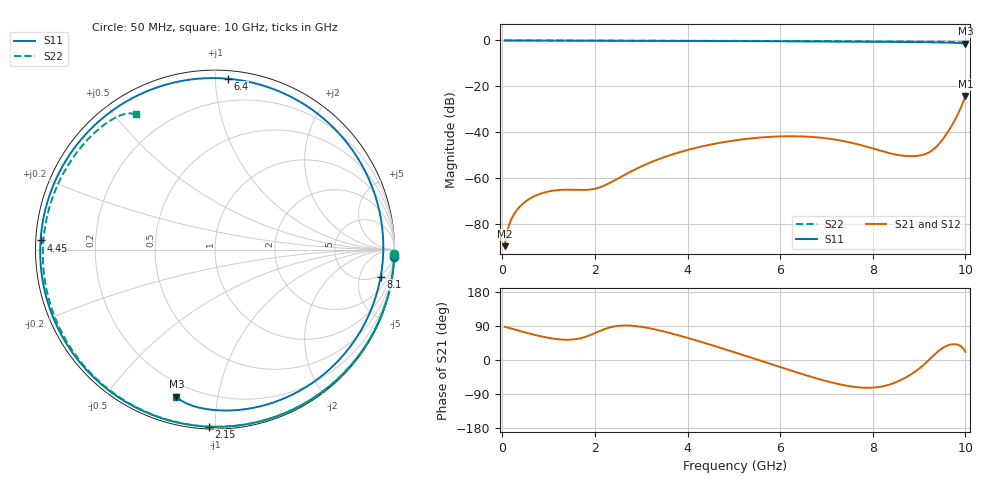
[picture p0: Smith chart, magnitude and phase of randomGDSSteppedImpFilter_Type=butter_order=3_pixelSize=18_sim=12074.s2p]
! freq	dB(S11)	phase(S11)	dB(S12)	phase(S12)
!  dB(S21)	phase(S21)	dB(S22)	phase(S22)
!S-par simulation data
#  GHz  S  DB  R 50
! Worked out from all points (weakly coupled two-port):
!   200 points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, 50 MHz to 10 GHz, reference 50 ohm
!   highest |S21| = -24.32 dB at 10 GHz (marker M1); lowest = -89.6 dB at 50 MHz (marker M2)
!   lowest |S11| = -1.4 dB at 10 GHz (marker M3), VSWR 12.10, Z = 6.57 - j38.2 ohm
!   |S11| at or under -10 dB: nowhere
!   |S22| runs from -1.2 to 0.0 dB; largest |S21 - S12| = 0
!   S11 on the Smith chart (normalised r, x): 50 MHz: 1, -50; 2.15 GHz: 0.01, -0.97; 4.45 GHz: 0.01, +0.03; 6.4 GHz: 0.05, +1.08; 8.1 GHz: 4, -10; 10 GHz: 0.13, -0.76
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0.05  -0.01 -2.3  -89.58 87.9  -89.58 87.9  -0.01 -1.4
0.15  -0.01 -6.7  -80.12 84.5  -80.12 84.5  -0.01 -4.2
0.4  -0.02 -17.8  -71.90 75.9  -71.90 75.9  -0.01 -11.2
0.75  -0.04 -33.2  -67.30 64.9  -67.30 64.9  -0.02 -20.9
1.25  -0.07 -54.7  -65.09 54.2  -65.09 54.2  -0.04 -34.6
1.75  -0.09 -75.7  -65.10 59.3  -65.10 59.3  -0.06 -47.9
2.15  -0.11 -91.9  -63.63 78.9  -63.63 78.9  -0.07 -58.3
2.75  -0.14 -115.8  -57.37 90.8  -57.37 90.8  -0.09 -73.4
3.4  -0.17 -141.2  -51.53 77.9  -51.53 77.9  -0.11 -89.1
3.95  -0.20 -162.8  -47.97 60.1  -47.97 60.1  -0.13 -101.9
4.45  -0.24 177.0  -45.54 42.0  -45.54 42.0  -0.16 -113.2
5.05  -0.28 151.4  -43.44 19.0  -43.44 19.0  -0.18 -126.3
5.8  -0.35 116.5  -41.95 -10.8  -41.95 -10.8  -0.23 -142.4
6.4  -0.40 85.8  -41.75 -34.3  -41.75 -34.3  -0.27 -155.0
6.7  -0.43 69.5  -42.04 -45.5  -42.04 -45.5  -0.29 -161.4
7.45  -0.50 27.3  -44.15 -68.1  -44.15 -68.1  -0.35 -177.3
8.1  -0.58 -9.3  -47.62 -71.8  -47.62 -71.8  -0.41 168.4
8.35  -0.62 -23.0  -49.03 -65.3  -49.03 -65.3  -0.44 162.8
8.9  -0.72 -51.9  -50.36 -31.8  -50.36 -31.8  -0.50 150.0
9.3  -0.82 -71.8  -47.57 10.5  -47.57 10.5  -0.56 140.3
9.65  -0.95 -88.6  -38.93 39.7  -38.93 39.7  -0.64 131.0
10  -1.44 -104.7  -24.32 21.5  -24.32 21.5  -1.18 120.3
